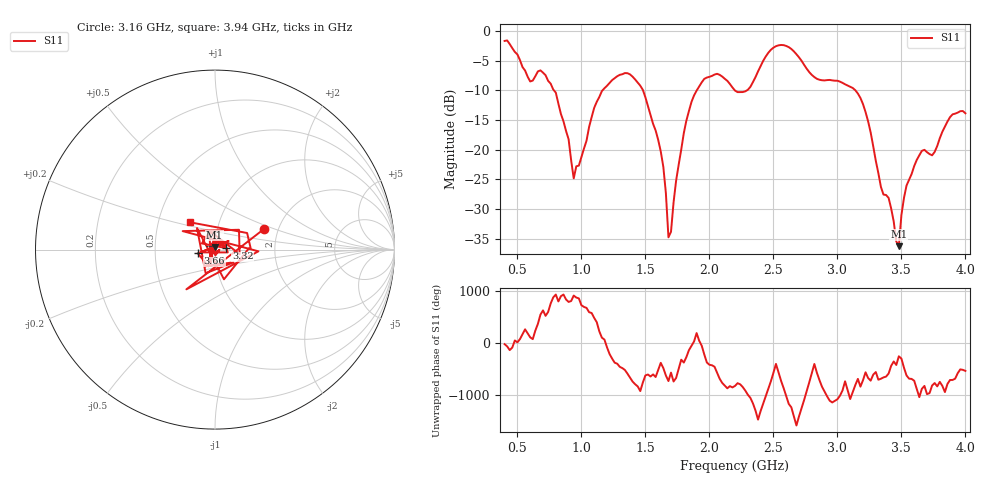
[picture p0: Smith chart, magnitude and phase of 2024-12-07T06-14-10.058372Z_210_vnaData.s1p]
!Created with skrf (http://scikit-rf.org).
# Hz S RI R 50.0
!freq ReS11 ImS11
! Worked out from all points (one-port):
!   181 points, 400 MHz to 4 GHz, reference 50 ohm
!   lowest |S11| = -36.2 dB at 3.48 GHz (marker M1), VSWR 1.03, Z = 49.8 + j1.52 ohm
!   |S11| at or under -10 dB: 785.3 MHz to 1.165 GHz (379.7 MHz wide, 38.9 % of centre); 1.481 GHz to 1.901 GHz (420 MHz wide, 24.8 % of centre); 3.141 GHz to end of sweep (the widest 3 of 4)
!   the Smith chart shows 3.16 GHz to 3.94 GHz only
!   S11 on the Smith chart (normalised r, x): 3.16 GHz: 1.69, +0.43; 3.32 GHz: 1.13, +0.02; 3.66 GHz: 0.82, -0.04; 3.94 GHz: 0.73, +0.23
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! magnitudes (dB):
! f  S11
! 400 MHz  -1.7
! 600 MHz  -8.5
! 720 MHz  -7.5
! 860 MHz  -15.2
! 940 MHz  -24.8
! 1.12 GHz  -11.9
! 1.3 GHz  -7.4
! 1.46 GHz  -9.2
! 1.58 GHz  -16.8
! 1.64 GHz  -22.9
! 1.68 GHz  -34.7
! 1.76 GHz  -22.5
! 1.86 GHz  -11.9
! 1.96 GHz  -8.1
! 2.2 GHz  -10.0
! 2.3 GHz  -9.9
! 2.5 GHz  -2.8
! 2.66 GHz  -3.4
! 3.1 GHz  -9.4
! 3.16 GHz  -10.5
! 3.32 GHz  -23.9
! 3.48 GHz  -36.2
! 3.52 GHz  -28.1
! 3.56 GHz  -25.1
! 3.66 GHz  -20.2
! 3.74 GHz  -20.9
! 3.94 GHz  -13.7
! 4 GHz  -13.9
